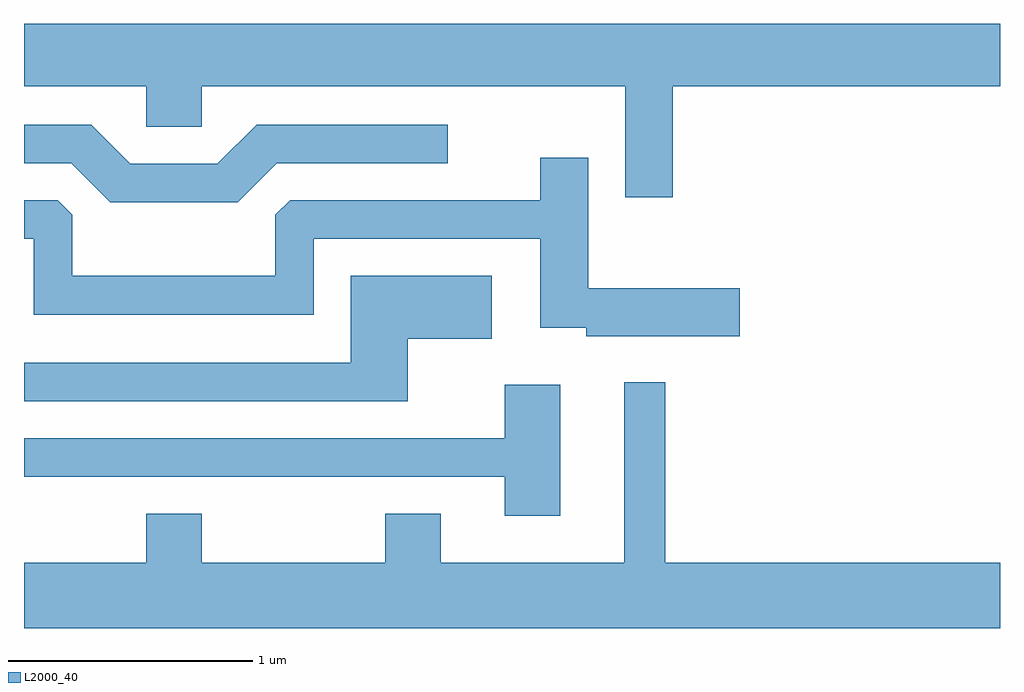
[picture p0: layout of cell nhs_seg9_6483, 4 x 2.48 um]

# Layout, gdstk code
import gdstk
lib = gdstk.Library(unit=1e-6, precision=1e-09)
def P(c, l, *ps):  # polygons
    for p in ps: c.add(gdstk.Polygon(p, *l))
L2000_40 = (2000, 40)

nhs_seg9_6483 = lib.new_cell('nhs_seg9_6483')
P(nhs_seg9_6483, L2000_40, [(378.269,2076.176),(379.611,2076.176),(379.611,2076.432),(375.611,2076.432),(375.611,2076.176),(376.111,2076.176),(376.111,2076.011),(376.339,2076.011),(376.339,2076.176),(378.076,2076.176),(378.076,2075.721),(378.269,2075.721)],
  [(376.647,2075.861),(377.348,2075.861),(377.348,2076.019),(376.564,2076.019),(376.404,2075.859),(376.047,2075.859),(375.887,2076.019),(375.611,2076.019),(375.611,2075.861),(375.804,2075.861),(375.964,2075.701),(376.487,2075.701)],
  [(378.544,2075.349),(377.924,2075.349),(377.924,2075.884),(377.726,2075.884),(377.726,2075.709),(376.702,2075.709),(376.641,2075.649),(376.641,2075.399),(375.809,2075.399),(375.809,2075.649),(375.749,2075.709),(375.611,2075.709),(375.611,2075.551),(375.651,2075.551),(375.651,2075.241),(376.799,2075.241),(376.799,2075.551),(377.726,2075.551),(377.726,2075.186),(377.916,2075.186),(377.916,2075.151),(378.544,2075.151)],
  [(377.184,2075.141),(377.529,2075.141),(377.529,2075.399),(376.951,2075.399),(376.951,2075.044),(375.611,2075.044),(375.611,2074.886),(377.184,2074.886)],
  [(379.611,2074.224),(378.239,2074.224),(378.239,2074.963),(378.071,2074.963),(378.071,2074.224),(377.319,2074.224),(377.319,2074.424),(377.091,2074.424),(377.091,2074.224),(376.339,2074.224),(376.339,2074.424),(376.111,2074.424),(376.111,2074.224),(375.611,2074.224),(375.611,2073.956),(379.611,2073.956)],
  [(377.809,2074.954),(377.581,2074.954),(377.581,2074.734),(375.611,2074.734),(375.611,2074.576),(377.581,2074.576),(377.581,2074.416),(377.809,2074.416)])

lib.write_gds('nhs_seg9_6483.gds')
